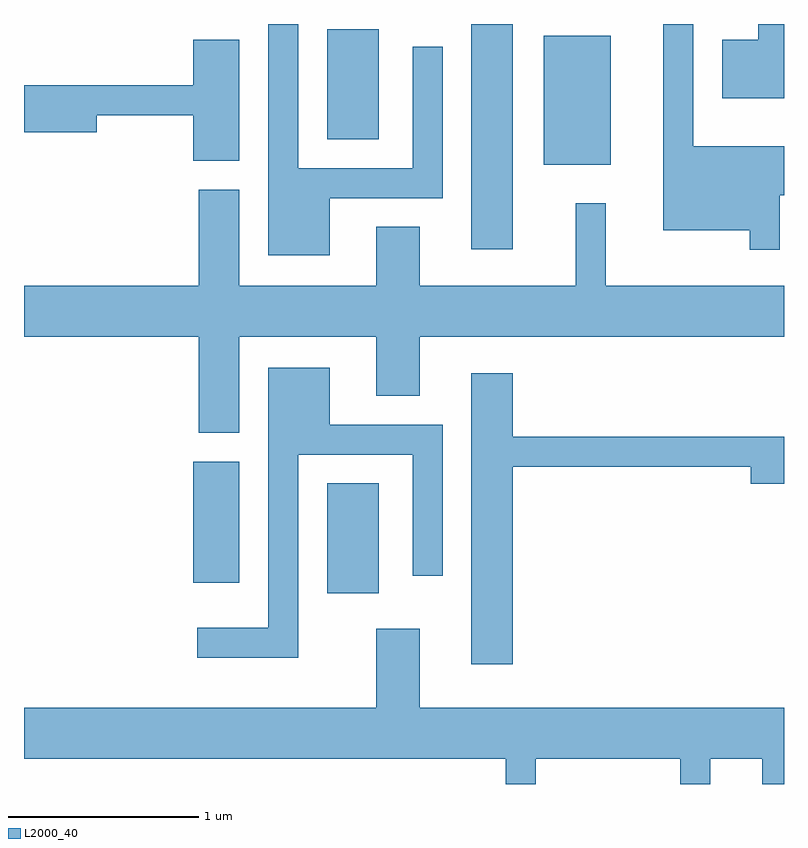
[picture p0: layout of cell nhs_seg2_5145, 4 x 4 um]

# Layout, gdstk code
import gdstk
lib = gdstk.Library(unit=1e-6, precision=1e-09)
def R(c, l, rs):  # rectangles x0, y0, x1, y1
    for r in rs: c.add(gdstk.rectangle(r[:2], r[2:], *l))
def P(c, l, *ps):  # polygons
    for p in ps: c.add(gdstk.Polygon(p, *l))
L2000_40 = (2000, 40)

nhs_seg2_5145 = lib.new_cell('nhs_seg2_5145')
R(nhs_seg2_5145, L2000_40, [(339.206,984.806,339.479,985.384), (338.501,984.861,338.744,985.499), (339.966,986.616,340.184,987.802), (340.346,987.061,340.699,987.739), (339.206,987.196,339.479,987.774)])
P(nhs_seg2_5145, L2000_40, [(341.611,987.802),(341.476,987.802),(341.476,987.719),(341.286,987.719),(341.286,987.411),(341.611,987.411)],
  [(341.589,986.901),(341.611,986.901),(341.611,987.159),(341.134,987.159),(341.134,987.802),(340.976,987.802),(340.976,986.716),(341.431,986.716),(341.431,986.613),(341.589,986.613)],
  [(339.219,986.886),(339.814,986.886),(339.814,987.683),(339.656,987.683),(339.656,987.044),(339.054,987.044),(339.054,987.802),(338.896,987.802),(338.896,986.586),(339.219,986.586)],
  [(338.744,987.719),(338.501,987.719),(338.501,987.479),(337.611,987.479),(337.611,987.231),(337.994,987.231),(337.994,987.321),(338.501,987.321),(338.501,987.081),(338.744,987.081)],
  [(338.744,986.156),(339.466,986.156),(339.466,985.846),(339.694,985.846),(339.694,986.156),(341.611,986.156),(341.611,986.424),(340.674,986.424),(340.674,986.858),(340.516,986.858),(340.516,986.424),(339.694,986.424),(339.694,986.734),(339.466,986.734),(339.466,986.424),(338.744,986.424),(338.744,986.929),(338.531,986.929),(338.531,986.424),(337.611,986.424),(337.611,986.156),(338.531,986.156),(338.531,985.651),(338.744,985.651)],
  [(339.054,985.536),(339.656,985.536),(339.656,984.898),(339.814,984.898),(339.814,985.694),(339.219,985.694),(339.219,985.994),(338.896,985.994),(338.896,984.624),(338.523,984.624),(338.523,984.466),(339.054,984.466)],
  [(340.184,985.471),(341.436,985.471),(341.436,985.381),(341.611,985.381),(341.611,985.629),(340.184,985.629),(340.184,985.964),(339.966,985.964),(339.966,984.431),(340.184,984.431)],
  [(340.304,983.936),(341.066,983.936),(341.066,983.802),(341.224,983.802),(341.224,983.936),(341.496,983.936),(341.496,983.802),(341.611,983.802),(341.611,984.204),(339.694,984.204),(339.694,984.619),(339.466,984.619),(339.466,984.204),(337.611,984.204),(337.611,983.936),(340.146,983.936),(340.146,983.802),(340.304,983.802)])

lib.write_gds('nhs_seg2_5145.gds')
